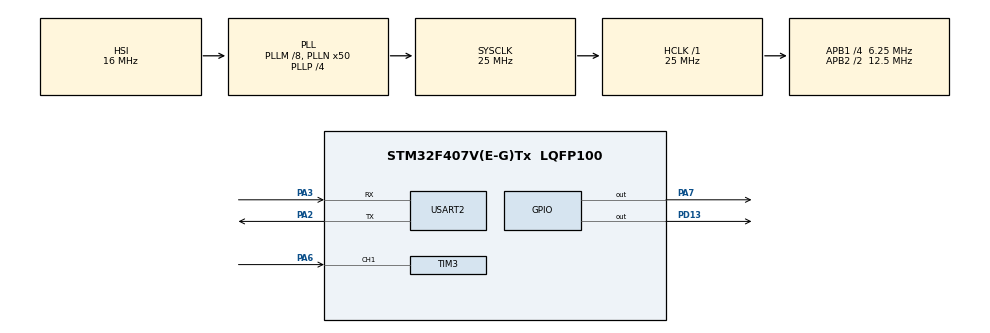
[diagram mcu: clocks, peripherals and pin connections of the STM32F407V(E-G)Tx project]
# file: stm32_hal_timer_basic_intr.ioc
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Mcu.Family=STM32F4
Mcu.Name=STM32F407V(E-G)Tx
Mcu.Package=LQFP100
NVIC.PriorityGroup=NVIC_PRIORITYGROUP_0
NVIC.TIM3_IRQn=true\:0\:1\:false\:false\:true\:true\:true\:true
PA2.Mode=Asynchronous
PA2.Signal=USART2_TX
PA3.Mode=Asynchronous
PA3.Signal=USART2_RX
PA6.Signal=S_TIM3_CH1
PA7.Signal=GPIO_Output
PD13.Signal=GPIO_Output
ProjectManager.HeapSize=0x200
ProjectManager.StackSize=0x400
ProjectManager.TargetToolchain=STM32CubeIDE
RCC.48MHZClocksFreq_Value=14285714.285714285
RCC.AHBFreq_Value=25000000
RCC.APB1CLKDivider=RCC_HCLK_DIV4
RCC.APB1Freq_Value=6250000
RCC.APB1TimFreq_Value=12500000
RCC.APB2CLKDivider=RCC_HCLK_DIV2
RCC.APB2Freq_Value=12500000
RCC.APB2TimFreq_Value=25000000
RCC.CortexFreq_Value=25000000
RCC.HCLKFreq_Value=25000000
RCC.HSE_VALUE=8000000
RCC.HSI_VALUE=16000000
RCC.LSE_VALUE=32768
RCC.PLLM=8
RCC.PLLN=50
RCC.PLLP=RCC_PLLP_DIV4
RCC.PLLQ=7
RCC.SYSCLKFreq_VALUE=25000000
RCC.SYSCLKSource=RCC_SYSCLKSOURCE_PLLCLK
RCC.VCOOutputFreq_Value=100000000
SH.S_TIM3_CH1.0=TIM3_CH1,Input_Capture1_from_TI1
TIM3.Channel-Input_Capture1_from_TI1=TIM_CHANNEL_1
TIM3.Prescaler=12499
USART2.VirtualMode=VM_ASYNC
VP_TIM3_VS_ClockSourceINT.Mode=Internal
board=STM32F407G-DISC1

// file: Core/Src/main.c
/* USER CODE BEGIN Header */
/**
  ******************************************************************************
  * @file           : main.c
  * @brief          : Main program body
  ******************************************************************************
  * @attention
  *
  * Copyright (c) 2023 STMicroelectronics.
  * All rights reserved.
  *
  * This software is licensed under terms that can be found in the LICENSE file
  * in the root directory of this software component.
  * If no LICENSE file comes with this software, it is provided AS-IS.
  *
  ******************************************************************************
  */
/* USER CODE END Header */
#include "main.h"
#include "stdio.h"
#include "string.h"

/* USER CODE BEGIN PM */
#define FIXED_POINT_FRACTIONAL_BITS 16
#define FIXED_POINT_ONE (1 << FIXED_POINT_FRACTIONAL_BITS)
#define FIXED_POINT_CONVERT(val) ((val) * FIXED_POINT_ONE)
#define FIXED_POINT_TO_FLOAT(val) ((float)(val) / FIXED_POINT_ONE)

/* USER CODE END PM */

TIM_HandleTypeDef htim3;

UART_HandleTypeDef huart2;

void SystemClock_Config(void);
static void MX_GPIO_Init(void);
static void MX_TIM3_Init(void);
static void MX_USART2_UART_Init(void);
/* USER CODE BEGIN PFP */

volatile uint32_t IC_Val1 = 0;
volatile uint32_t IC_Val2 = 0;
volatile uint32_t Difference = 0;
volatile uint8_t Is_First_Captured = 0;  // is the first value captured ?
volatile float Distance  = 0;
static int32_t Distance_Q16 = 0;
char msg[100];
#define TRIG_PIN GPIO_PIN_7
#define TRIG_PORT GPIOA
/* USER CODE END PFP */

#include <stdio.h>

void FixedPointToString(int32_t fixedPointValue, char *buffer, int bufferSize)
{
    // Extract integer and fractional parts
    int32_t integerPart = fixedPointValue >> FIXED_POINT_FRACTIONAL_BITS;
    int32_t fractionalPart = fixedPointValue & (FIXED_POINT_ONE - 1);

    // Format as a string with 2 decimal places
    snprintf(buffer, bufferSize, "%d.%02d", integerPart, (fractionalPart * 100) >> FIXED_POINT_FRACTIONAL_BITS);
}

/* USER CODE BEGIN 0 */
void delay(uint16_t time)
{
    __HAL_TIM_SET_COUNTER(&htim3, 0);
    while (__HAL_TIM_GET_COUNTER(&htim3) < time);
}

void UART_Transmit(const char *msg)
{
    HAL_UART_Transmit(&huart2, (uint8_t*)msg, strlen(msg), HAL_MAX_DELAY);
}

void HCSR04_Read(void)
{
    HAL_GPIO_WritePin(TRIG_PORT, TRIG_PIN, GPIO_PIN_SET);  // pull the TRIG pin HIGH
    delay(10);  // wait for 10 us
    HAL_GPIO_WritePin(TRIG_PORT, TRIG_PIN, GPIO_PIN_RESET);  // pull the TRIG pin low

    __HAL_TIM_ENABLE_IT(&htim3, TIM_IT_CC1);
}

/* USER CODE END 0 */

int main(void)
{

    /* MCU Configuration--------------------------------------------------------*/

    /* Reset of all peripherals, Initializes the Flash interface and the Systick. */
    HAL_Init();

    /* Configure the system clock */
    SystemClock_Config();

    /* Initialize all configured peripherals */
    MX_GPIO_Init();
    MX_TIM3_Init();
    MX_USART2_UART_Init();
    /* USER CODE BEGIN 2 */
    HAL_TIM_IC_Start_IT(&htim3, TIM_CHANNEL_1);
    /* USER CODE END 2 */

    /* Infinite loop */
    while (1)
    {
        HCSR04_Read();
        HAL_Delay(2000);
    }
}

void SystemClock_Config(void)
{
    RCC_OscInitTypeDef RCC_OscInitStruct = {0};
    RCC_ClkInitTypeDef RCC_ClkInitStruct = {0};

    /** Configure the main internal regulator output voltage
    */
    __HAL_RCC_PWR_CLK_ENABLE();
    __HAL_PWR_VOLTAGESCALING_CONFIG(PWR_REGULATOR_VOLTAGE_SCALE1);

    /** Initializes the RCC Oscillators according to the specified parameters
    * in the RCC_OscInitTypeDef structure.
    */
    RCC_OscInitStruct.OscillatorType = RCC_OSCILLATORTYPE_HSI;
    RCC_OscInitStruct.HSIState = RCC_HSI_ON;
    RCC_OscInitStruct.HSICalibrationValue = RCC_HSICALIBRATION_DEFAULT;
    RCC_OscInitStruct.PLL.PLLState = RCC_PLL_ON;
    RCC_OscInitStruct.PLL.PLLSource = RCC_PLLSOURCE_HSI;
    RCC_OscInitStruct.PLL.PLLM = 8;
    RCC_OscInitStruct.PLL.PLLN = 50;
    RCC_OscInitStruct.PLL.PLLP = RCC_PLLP_DIV4;
    RCC_OscInitStruct.PLL.PLLQ = 7;
    if (HAL_RCC_OscConfig(&RCC_OscInitStruct) != HAL_OK)
    {
        Error_Handler();
    }

    /** Initializes the CPU, AHB and APB buses clocks
    */
    RCC_ClkInitStruct.ClockType = RCC_CLOCKTYPE_HCLK|RCC_CLOCKTYPE_SYSCLK
                                |RCC_CLOCKTYPE_PCLK1|RCC_CLOCKTYPE_PCLK2;
    RCC_ClkInitStruct.SYSCLKSource = RCC_SYSCLKSOURCE_PLLCLK;
    RCC_ClkInitStruct.AHBCLKDivider = RCC_SYSCLK_DIV1;
    RCC_ClkInitStruct.APB1CLKDivider = RCC_HCLK_DIV4;
    RCC_ClkInitStruct.APB2CLKDivider = RCC_HCLK_DIV2;

    if (HAL_RCC_ClockConfig(&RCC_ClkInitStruct, FLASH_LATENCY_0) != HAL_OK)
    {
        Error_Handler();
    }
}

static void MX_TIM3_Init(void)
{
    TIM_ClockConfigTypeDef sClockSourceConfig = {0};
    TIM_MasterConfigTypeDef sMasterConfig = {0};
    TIM_IC_InitTypeDef sConfigIC = {0};

    htim3.Instance = TIM3;
    htim3.Init.Prescaler = 12499;
    htim3.Init.CounterMode = TIM_COUNTERMODE_UP;
    htim3.Init.Period = 65535;
    htim3.Init.ClockDivision = TIM_CLOCKDIVISION_DIV1;
    htim3.Init.AutoReloadPreload = TIM_AUTORELOAD_PRELOAD_DISABLE;
    if (HAL_TIM_Base_Init(&htim3) != HAL_OK)
    {
        Error_Handler();
    }
    sClockSourceConfig.ClockSource = TIM_CLOCKSOURCE_INTERNAL;
    if (HAL_TIM_ConfigClockSource(&htim3, &sClockSourceConfig) != HAL_OK)
    {
        Error_Handler();
    }
    if (HAL_TIM_IC_Init(&htim3) != HAL_OK)
    {
        Error_Handler();
    }
    sMasterConfig.MasterOutputTrigger = TIM_TRGO_RESET;
    sMasterConfig.MasterSlaveMode = TIM_MASTERSLAVEMODE_DISABLE;
    if (HAL_TIMEx_MasterConfigSynchronization(&htim3, &sMasterConfig) != HAL_OK)
    {
        Error_Handler();
    }
    sConfigIC.ICPolarity = TIM_INPUTCHANNELPOLARITY_RISING;
    sConfigIC.ICSelection = TIM_ICSELECTION_DIRECTTI;
    sConfigIC.ICPrescaler = TIM_ICPSC_DIV1;
    sConfigIC.ICFilter = 0;
    if (HAL_TIM_IC_ConfigChannel(&htim3, &sConfigIC, TIM_CHANNEL_1) != HAL_OK)
    {
        Error_Handler();
    }
}

static void MX_USART2_UART_Init(void)
{
    huart2.Instance = USART2;
    huart2.Init.BaudRate = 9600;
    huart2.Init.WordLength = UART_WORDLENGTH_8B;
    huart2.Init.StopBits = UART_STOPBITS_1;
    huart2.Init.Parity = UART_PARITY_NONE;
    huart2.Init.Mode = UART_MODE_TX_RX;
    huart2.Init.HwFlowCtl = UART_HWCONTROL_NONE;
    huart2.Init.OverSampling = UART_OVERSAMPLING_16;
    if (HAL_UART_Init(&huart2) != HAL_OK)
    {
        Error_Handler();
    }
}

static void MX_GPIO_Init(void)
{
    GPIO_InitTypeDef GPIO_InitStruct = {0};

    /* GPIO Ports Clock Enable */
    __HAL_RCC_GPIOA_CLK_ENABLE();
    __HAL_RCC_GPIOD_CLK_ENABLE();

    /*Configure GPIO pin Output Level */
    HAL_GPIO_WritePin(GPIOA, GPIO_PIN_7, GPIO_PIN_RESET);

    /*Configure GPIO pin Output Level */
    HAL_GPIO_WritePin(GPIOD, GPIO_PIN_13, GPIO_PIN_RESET);

    /*Configure GPIO pin : PA7 */
    GPIO_InitStruct.Pin = GPIO_PIN_7;
    GPIO_InitStruct.Mode = GPIO_MODE_OUTPUT_PP;
    GPIO_InitStruct.Pull = GPIO_NOPULL;
    GPIO_InitStruct.Speed = GPIO_SPEED_FREQ_LOW;
    HAL_GPIO_Init(GPIOA, &GPIO_InitStruct);

    /*Configure GPIO pin : PD13 */
    GPIO_InitStruct.Pin = GPIO_PIN_13;
    GPIO_InitStruct.Mode = GPIO_MODE_OUTPUT_PP;
    GPIO_InitStruct.Pull = GPIO_NOPULL;
    GPIO_InitStruct.Speed = GPIO_SPEED_FREQ_LOW;
    HAL_GPIO_Init(GPIOD, &GPIO_InitStruct);
}

/* USER CODE BEGIN 4 */
void HAL_TIM_IC_CaptureCallback(TIM_HandleTypeDef *htim)
{
    if (htim->Instance == TIM3)
    {
        if (__HAL_TIM_GET_IT_SOURCE(htim, TIM_IT_CC1) != RESET)
        {
            HAL_GPIO_TogglePin(GPIOD, GPIO_PIN_13);

            if (Is_First_Captured == 0) // If the first value is not captured
            {
                IC_Val1 = HAL_TIM_ReadCapturedValue(htim, TIM_CHANNEL_1); // Read the first value
                Is_First_Captured = 1;  // Set the first captured as true
                // Now change the polarity to falling edge
                __HAL_TIM_SET_CAPTUREPOLARITY(htim, TIM_CHANNEL_1, TIM_INPUTCHANNELPOLARITY_FALLING);
                snprintf(msg, sizeof(msg), "First value captured: %lu\r\n", IC_Val1);
                UART_Transmit(msg);
                memset(msg, 0, sizeof(msg));
            }
            else if (Is_First_Captured == 1)   // If the first value is already captured
            {
                IC_Val2 = HAL_TIM_ReadCapturedValue(htim, TIM_CHANNEL_1);  // Read the second value
                __HAL_TIM_SET_COUNTER(htim, 0);  // Reset the counter
                // Set polarity to rising edge
                if (IC_Val2 > IC_Val1)
                {
                    Difference = IC_Val2 - IC_Val1;
                }
                else if (IC_Val1 > IC_Val2)
                {
                    Difference = (0xffff - IC_Val1) + IC_Val2;
                }
                else if(IC_Val1 == IC_Val2)
                {
                	Difference = 0;
                }

//                __HAL_TIM_SET_CAPTUREPOLARITY(htim, TIM_CHANNEL_1, TIM_INPUTCHANNELPOLARITY_RISING);
//                __HAL_TIM_DISABLE_IT(htim, TIM_IT_CC1);
//                Distance = Difference * 0.034 / 2;
//    			Is_First_Captured = 0; // set it back to false
//                snprintf(msg, sizeof(msg), "difference: %lu\r\nSecond value captured: %lu, Distance: %f\r\n",Difference, IC_Val2, Distance);
//                UART_Transmit(msg);
//                memset(msg, 0, sizeof(msg));
                Distance_Q16 = (Difference * FIXED_POINT_CONVERT(34)) / 2; // 0.034 * 2 in Q16.16

                // Convert fixed-point distance to string
                char distanceStr[20];
                FixedPointToString(Distance_Q16, distanceStr, sizeof(distanceStr));

                __HAL_TIM_SET_CAPTUREPOLARITY(htim, TIM_CHANNEL_1, TIM_INPUTCHANNELPOLARITY_RISING);
                __HAL_TIM_DISABLE_IT(htim, TIM_IT_CC1);
                Is_First_Captured = 0; // set it back to false

                snprintf(msg, sizeof(msg), "Difference: %lu\r\nSecond value captured: %lu, Distance: %s\r\n", Difference, IC_Val2, distanceStr);
                UART_Transmit(msg);
                memset(msg, 0, sizeof(msg));
            }
        }
    }
}

/* USER CODE END 4 */

void Error_Handler(void)
{
    __disable_irq();
    while (1)
    {
    }
}
